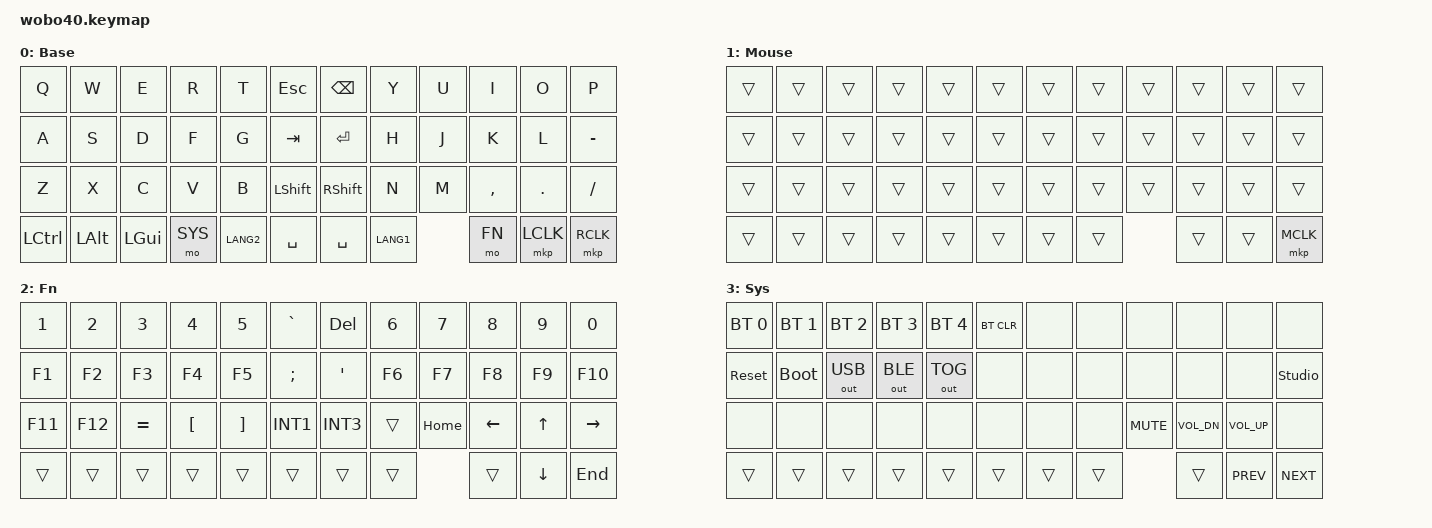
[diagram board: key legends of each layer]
/*
 * WoBo40 キーマップ (47キー, Mac / JIS想定)
 *
 * 物理配列 (4行x12列、4行目9列目がトラックボール):
 *   Q   W   E   R   T    | Esc Bspc | Y    U     I    O     P
 *   A   S   D   F   G    | Tab Ent  | H    J     K    L     -
 *   Z   X   C   V   B    | Sft Sft  | N    M     ,    .     /
 *   Ctl Opt Cmd SYS 英数 | Spc Spc  | かな [TB]  fn   LClk  RClk
 *
 * レイヤー構成:
 *   0: Base  - 通常入力
 *   1: Mouse - トラックボールを動かすと自動で有効化
 *   2: Fn    - fnキー押下中 (数字/ファンクション/記号/矢印 + トラックボールはスクロール)
 *   3: Sys   - SYSキー押下中 (Bluetooth/リセット/メディア)
 */

#include <behaviors.dtsi>
#include <dt-bindings/zmk/keys.h>
#include <dt-bindings/zmk/bt.h>
#include <dt-bindings/zmk/outputs.h>
#include <dt-bindings/zmk/pointing.h>

#define BASE  0
#define MOUSE 1
#define FN    2
#define SYS   3

/ {
    keymap {
        compatible = "zmk,keymap";

        base_layer {
            display-name = "Base";
            bindings = <
&kp Q      &kp W     &kp E     &kp R      &kp T       &kp ESC     &kp BSPC    &kp Y      &kp U    &kp I      &kp O      &kp P
&kp A      &kp S     &kp D     &kp F      &kp G       &kp TAB     &kp ENTER   &kp H      &kp J    &kp K      &kp L      &kp MINUS
&kp Z      &kp X     &kp C     &kp V      &kp B       &kp LSHFT   &kp RSHFT   &kp N      &kp M    &kp COMMA  &kp DOT    &kp FSLH
&kp LCTRL  &kp LALT  &kp LGUI  &mo SYS    &kp LANG2   &kp SPACE   &kp SPACE   &kp LANG1           &mo FN   &mkp LCLK  &mkp RCLK
            >;
        };

        mouse_layer {
            display-name = "Mouse";
            bindings = <
&trans     &trans    &trans    &trans     &trans      &trans      &trans      &trans     &trans   &trans     &trans     &trans
&trans     &trans    &trans    &trans     &trans      &trans      &trans      &trans     &trans   &trans     &trans     &trans
&trans     &trans    &trans    &trans     &trans      &trans      &trans      &trans     &trans   &trans     &trans     &trans
&trans     &trans    &trans    &trans     &trans      &trans      &trans      &trans              &trans   &trans     &mkp MCLK
            >;
        };

        fn_layer {
            display-name = "Fn";
            bindings = <
&kp N1     &kp N2    &kp N3    &kp N4     &kp N5      &kp GRAVE   &kp DEL     &kp N6     &kp N7   &kp N8     &kp N9     &kp N0
&kp F1     &kp F2    &kp F3    &kp F4     &kp F5      &kp SEMI    &kp SQT     &kp F6     &kp F7   &kp F8     &kp F9     &kp F10
&kp F11    &kp F12   &kp EQUAL &kp LBKT   &kp RBKT    &kp INT1    &kp INT3    &trans     &kp HOME &kp LEFT   &kp UP     &kp RIGHT
&trans     &trans    &trans    &trans     &trans      &trans      &trans      &trans              &trans   &kp DOWN   &kp END
            >;
        };

        sys_layer {
            display-name = "Sys";
            bindings = <
&bt BT_SEL 0  &bt BT_SEL 1  &bt BT_SEL 2  &bt BT_SEL 3  &bt BT_SEL 4  &bt BT_CLR    &none         &none   &none       &none         &none         &none
&sys_reset    &bootloader   &out OUT_USB  &out OUT_BLE  &out OUT_TOG  &none         &none         &none   &none       &none         &none         &studio_unlock
&none         &none         &none         &none         &none         &none         &none         &none   &kp C_MUTE  &kp C_VOL_DN  &kp C_VOL_UP  &none
&trans        &trans        &trans        &trans        &trans        &trans        &trans        &trans          &trans    &kp C_PREV    &kp C_NEXT
            >;
        };
    };
};
